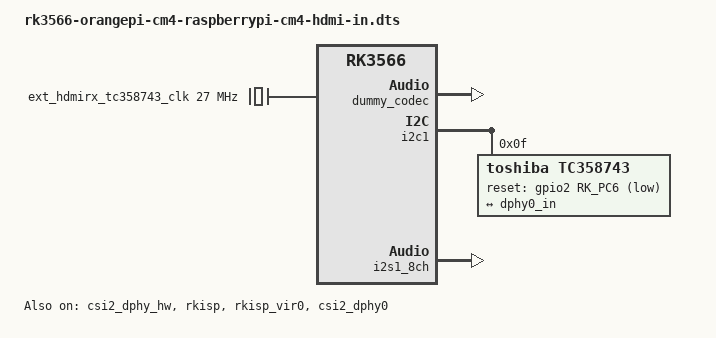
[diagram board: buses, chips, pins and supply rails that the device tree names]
// SPDX-License-Identifier: (GPL-2.0+ OR MIT)
/*
* Copyright (c) 2020 Rockchip Electronics Co., Ltd.
*
*/
/dts-v1/;

#include "rk3566-orangepi-cm4.dtsi"

/ {

	tc358743_sound: tc358743-sound {
		compatible = "simple-audio-card";
		simple-audio-card,format = "i2s";
		simple-audio-card,name = "tc358743";
		simple-audio-card,bitclock-master = <&dailink0_master>;
		simple-audio-card,frame-master = <&dailink0_master>;
		status = "disabled";

		simple-audio-card,cpu {
			sound-dai = <&i2s1_8ch>;
		};

		dailink0_master: simple-audio-card,codec {
			sound-dai = <&dummy_codec>;
		};
	};

	ext_hdmirx_tc358743_clk: external-hdmirx-tc358743-clock {
		compatible = "fixed-clock";
		clock-frequency = <27000000>;
		clock-output-names = "ext_hdmirx_tc358743_clk";
		#clock-cells = <0>;
	};
};

&csi2_dphy_hw {
    status = "okay";
};

&rkisp {
    status = "okay";
};

&rkisp_mmu {
    status = "okay";
};


&rkisp_vir0 {
	status = "okay";
	port {
		#address-cells = <1>;
		#size-cells = <0>;
		
		isp0_in: endpoint@0 {
			reg = <0>;
			remote-endpoint = <&dphy0_out>;
		};
	};
};

&csi2_dphy0 {
	status = "okay";
	
	ports {
		#address-cells = <1>;
		#size-cells = <0>;
		
		port@0 {
			reg = <0>;
			#address-cells = <1>;
			#size-cells = <0>;
			
			dphy0_in: endpoint@1 {
				reg = <1>;
				remote-endpoint = <&tc358743_out>;
				data-lanes = <1 2 3 4>;
			};
		};
		
		port@1 {
			reg = <1>;
			#address-cells = <1>;
			#size-cells = <0>;
			
			dphy0_out: endpoint@1 {
				reg = <1>;
				remote-endpoint = <&isp0_in>;
			};
		};
	};
};

&rk809_sound {
	status = "disabled";
};

&rk809_codec {
	status = "disabled";
};

&dummy_codec {
	status = "okay";
};

&i2c1 {
	tc358743: tc358743@f {
		status = "okay";
		compatible = "toshiba,tc358743";
		reg = <0x0f>;
		clocks = <&ext_hdmirx_tc358743_clk>;
		clock-names = "refclk";
		reset-gpios = <&gpio2 RK_PC6 GPIO_ACTIVE_LOW>;
		
		rockchip,camera-module-index = <0>;
		rockchip,camera-module-facing = "back";
		rockchip,camera-module-name = "HDMIIN";
		rockchip,camera-module-lens-name = "NA";
		
		port {
			tc358743_out: endpoint {
				remote-endpoint = <&dphy0_in>;
				data-lanes = <1 2 3 4>;
				clock-noncontinuous;
				link-frequencies = /bits/ 64 <297000000>;
			};
		};
	};
};

&tc358743_sound {
	status = "okay";
};

&i2s1_8ch {
	status = "okay";
	rockchip,clk-trcm = <1>;
	pinctrl-names = "default";
	pinctrl-0 = <&i2s1m1_sclktx
	&i2s1m1_lrcktx
	&i2s1m1_sdi0
	&i2s1m1_sdo0>;
};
